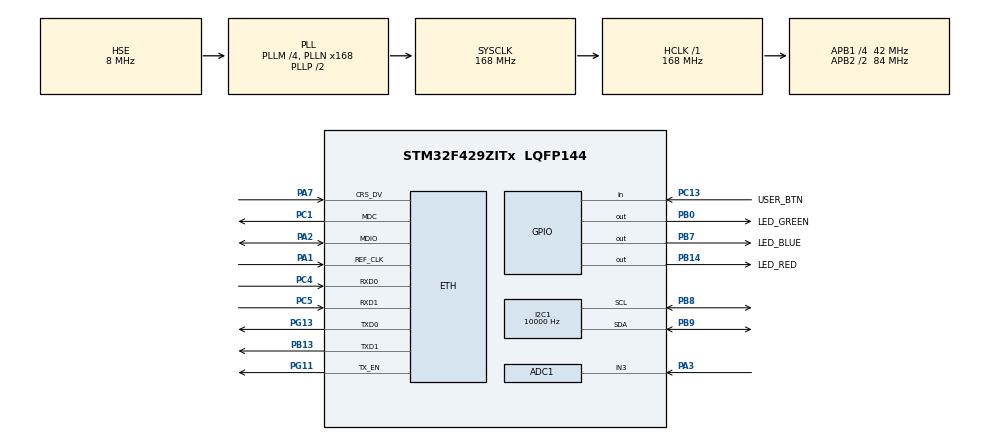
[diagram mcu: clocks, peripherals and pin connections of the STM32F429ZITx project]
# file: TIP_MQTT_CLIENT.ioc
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ADC1.Channel-4\#ChannelRegularConversion=ADC_CHANNEL_3
ADC1.NbrOfConversionFlag=1
ADC1.Rank-4\#ChannelRegularConversion=1
ADC1.SamplingTime-4\#ChannelRegularConversion=ADC_SAMPLETIME_3CYCLES
ADC1.master=1
ETH.MediaInterface=ETH_MEDIA_INTERFACE_RMII
ETH.PhyAddress=0
FREERTOS.Tasks01=defaultTask,0,512,StartDefaultTask,Default,NULL,Dynamic,NULL,NULL
FREERTOS.configCHECK_FOR_STACK_OVERFLOW=2
FREERTOS.configENABLE_FPU=1
FREERTOS.configMINIMAL_STACK_SIZE=512
FREERTOS.configTOTAL_HEAP_SIZE=32768
I2C1.ClockSpeed=10000
LWIP.LWIP_NETIF_LINK_CALLBACK=1
LWIP.LWIP_SO_RCVBUF=1
LWIP.Version=v2.1.2_Cube
Mcu.Family=STM32F4
Mcu.Name=STM32F429ZITx
Mcu.Package=LQFP144
NVIC.ETH_IRQn=true\:5\:0\:false\:false\:true\:true\:false\:true
NVIC.PriorityGroup=NVIC_PRIORITYGROUP_4
NVIC.TIM6_DAC_IRQn=true\:0\:0\:false\:false\:true\:false\:false\:true
NVIC.TimeBase=TIM6_DAC_IRQn
NVIC.TimeBaseIP=TIM6
PA1.Mode=RMII
PA1.Signal=ETH_REF_CLK
PA13.Mode=Trace_Asynchronous_SW
PA13.Signal=SYS_JTMS-SWDIO
PA14.Mode=Trace_Asynchronous_SW
PA14.Signal=SYS_JTCK-SWCLK
PA2.Mode=RMII
PA2.Signal=ETH_MDIO
PA3.Signal=ADCx_IN3
PA7.Mode=RMII
PA7.Signal=ETH_CRS_DV
PB0.GPIO_Label=LED_GREEN
PB0.Signal=GPIO_Output
PB13.Mode=RMII
PB13.Signal=ETH_TXD1
PB14.GPIO_Label=LED_RED
PB14.Signal=GPIO_Output
PB3.Mode=Trace_Asynchronous_SW
PB3.Signal=SYS_JTDO-SWO
PB7.GPIO_Label=LED_BLUE
PB7.Signal=GPIO_Output
PB8.Mode=I2C
PB8.Signal=I2C1_SCL
PB9.Mode=I2C
PB9.Signal=I2C1_SDA
PC1.Mode=RMII
PC1.Signal=ETH_MDC
PC13.GPIO_Label=USER_BTN
PC13.Signal=GPIO_Input
PC14/OSC32_IN.Mode=LSE-External-Oscillator
PC14/OSC32_IN.Signal=RCC_OSC32_IN
PC15/OSC32_OUT.Mode=LSE-External-Oscillator
PC15/OSC32_OUT.Signal=RCC_OSC32_OUT
PC4.Mode=RMII
PC4.Signal=ETH_RXD0
PC5.Mode=RMII
PC5.Signal=ETH_RXD1
PG11.Mode=RMII
PG11.Signal=ETH_TX_EN
PG13.Mode=RMII
PG13.Signal=ETH_TXD0
PH0/OSC_IN.Mode=HSE-External-Clock-Source
PH0/OSC_IN.Signal=RCC_OSC_IN
PH1/OSC_OUT.Mode=HSE-External-Clock-Source
PH1/OSC_OUT.Signal=RCC_OSC_OUT
ProjectManager.HeapSize=0x200
ProjectManager.StackSize=0x400
ProjectManager.TargetToolchain=STM32CubeIDE
RCC.48MHZClocksFreq_Value=48000000
RCC.AHBFreq_Value=168000000
RCC.APB1CLKDivider=RCC_HCLK_DIV4
RCC.APB1Freq_Value=42000000
RCC.APB1TimFreq_Value=84000000
RCC.APB2CLKDivider=RCC_HCLK_DIV2
RCC.APB2Freq_Value=84000000
RCC.APB2TimCLKDivider=2
RCC.APB2TimFreq_Value=168000000
RCC.CortexFreq_Value=168000000
RCC.HCLKFreq_Value=168000000
RCC.HSE_VALUE=8000000
RCC.HSI_VALUE=16000000
RCC.PLLM=4
RCC.PLLMUL=RCC_PLL_MUL9
RCC.PLLN=168
RCC.PLLQ=7
RCC.PLLSourceVirtual=RCC_PLLSOURCE_HSE
RCC.PRESCALERUSB=RCC_USBCLKSOURCE_PLL_DIV1_5
RCC.SYSCLKFreq_VALUE=168000000
RCC.SYSCLKSource=RCC_SYSCLKSOURCE_PLLCLK
RCC.SYSCLKSourceVirtual=RCC_SYSCLKSOURCE_PLLCLK
RCC.USBFreq_Value=48000000
RCC.VCOOutputFreq_Value=336000000
SH.ADCx_IN3.0=ADC1_IN3,IN3
VP_FREERTOS_VS_CMSIS_V1.Mode=CMSIS_V1
VP_LWIP_VS_Enabled.Mode=Enabled
VP_SYS_VS_tim6.Mode=TIM6
board=NUCLEO-F429ZI

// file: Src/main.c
/* USER CODE BEGIN Header */
/**
  ******************************************************************************
  * @file           : main.c
  * @brief          : Main program body
  ******************************************************************************
  * @attention
  *
  * <h2><center>&copy; Copyright (c) 2020 STMicroelectronics.
  * All rights reserved.</center></h2>
  *
  * This software component is licensed by ST under Ultimate Liberty license
  * SLA0044, the "License"; You may not use this file except in compliance with
  * the License. You may obtain a copy of the License at:
  *                             www.st.com/SLA0044
  *
  ******************************************************************************
  */
/* USER CODE END Header */

#include "main.h"
#include "cmsis_os.h"
#include "adc.h"
#include "i2c.h"
#include "lwip.h"
#include "gpio.h"

/* USER CODE BEGIN PV */
extern uint32_t MilliTimer;
/* USER CODE END PV */

void SystemClock_Config(void);
void MX_FREERTOS_Init(void);

/* USER CODE BEGIN 0 */
int _write(int file, char *ptr, int len)
{
  int DataIdx;

  for (DataIdx = 0; DataIdx < len; DataIdx++)
  {
    ITM_SendChar(*ptr++);
  }
  return len;
}

/* USER CODE END 0 */

int main(void)
{

  /* MCU Configuration--------------------------------------------------------*/

  /* Reset of all peripherals, Initializes the Flash interface and the Systick. */
  HAL_Init();

  /* Configure the system clock */
  SystemClock_Config();

  /* Initialize all configured peripherals */
  MX_GPIO_Init();
  MX_I2C1_Init();
  MX_ADC1_Init();
  /* USER CODE BEGIN 2 */
  printf("Start application.\r\n");

  /* USER CODE END 2 */

  /* Call init function for freertos objects (in freertos.c) */
  MX_FREERTOS_Init();
  /* Start scheduler */
  osKernelStart();

  /* We should never get here as control is now taken by the scheduler */
  /* Infinite loop */
  while (1)
  {

  }
}

void SystemClock_Config(void)
{
  RCC_OscInitTypeDef RCC_OscInitStruct = {0};
  RCC_ClkInitTypeDef RCC_ClkInitStruct = {0};

  /** Configure the main internal regulator output voltage
  */
  __HAL_RCC_PWR_CLK_ENABLE();
  __HAL_PWR_VOLTAGESCALING_CONFIG(PWR_REGULATOR_VOLTAGE_SCALE1);
  /** Initializes the CPU, AHB and APB busses clocks
  */
  RCC_OscInitStruct.OscillatorType = RCC_OSCILLATORTYPE_HSE;
  RCC_OscInitStruct.HSEState = RCC_HSE_BYPASS;
  RCC_OscInitStruct.PLL.PLLState = RCC_PLL_ON;
  RCC_OscInitStruct.PLL.PLLSource = RCC_PLLSOURCE_HSE;
  RCC_OscInitStruct.PLL.PLLM = 4;
  RCC_OscInitStruct.PLL.PLLN = 168;
  RCC_OscInitStruct.PLL.PLLP = RCC_PLLP_DIV2;
  RCC_OscInitStruct.PLL.PLLQ = 7;
  if (HAL_RCC_OscConfig(&RCC_OscInitStruct) != HAL_OK)
  {
    Error_Handler();
  }
  /** Initializes the CPU, AHB and APB busses clocks
  */
  RCC_ClkInitStruct.ClockType = RCC_CLOCKTYPE_HCLK|RCC_CLOCKTYPE_SYSCLK
                              |RCC_CLOCKTYPE_PCLK1|RCC_CLOCKTYPE_PCLK2;
  RCC_ClkInitStruct.SYSCLKSource = RCC_SYSCLKSOURCE_PLLCLK;
  RCC_ClkInitStruct.AHBCLKDivider = RCC_SYSCLK_DIV1;
  RCC_ClkInitStruct.APB1CLKDivider = RCC_HCLK_DIV4;
  RCC_ClkInitStruct.APB2CLKDivider = RCC_HCLK_DIV2;

  if (HAL_RCC_ClockConfig(&RCC_ClkInitStruct, FLASH_LATENCY_5) != HAL_OK)
  {
    Error_Handler();
  }
}

 /**
  * @brief  Period elapsed callback in non blocking mode
  * @note   This function is called  when TIM6 interrupt took place, inside
  * HAL_TIM_IRQHandler(). It makes a direct call to HAL_IncTick() to increment
  * a global variable "uwTick" used as application time base.
  * @param  htim : TIM handle
  * @retval None
  */
void HAL_TIM_PeriodElapsedCallback(TIM_HandleTypeDef *htim)
{
  if (htim->Instance == TIM6) {
    HAL_IncTick();
  }
  /* USER CODE BEGIN Callback 1 */
  if (htim->Instance == TIM6) {
    MilliTimer++;
  }

  /* USER CODE END Callback 1 */
}

void Error_Handler(void)
{
}

/************************ (C) COPYRIGHT STMicroelectronics *****END OF FILE****/

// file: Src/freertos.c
/* USER CODE BEGIN Header */
/**
 ******************************************************************************
 * File Name          : freertos.c
 * Description        : Code for freertos applications
 ******************************************************************************
 * @attention
 *
 * <h2><center>&copy; Copyright (c) 2020 STMicroelectronics.
 * All rights reserved.</center></h2>
 *
 * This software component is licensed by ST under Ultimate Liberty license
 * SLA0044, the "License"; You may not use this file except in compliance with
 * the License. You may obtain a copy of the License at:
 *                             www.st.com/SLA0044
 *
 ******************************************************************************
 */
/* USER CODE END Header */

#include "FreeRTOS.h"
#include "task.h"
#include "main.h"
#include "cmsis_os.h"

/* USER CODE BEGIN Includes */
#include <string.h>
#include <stdlib.h>
#include "lwip.h"
#include "lwip/api.h"
#include "MQTTClient.h"
#include "MQTTInterface.h"
#include "tc74_sensor.h"
#include "hih_5031_sensor.h"

/* USER CODE END Includes */

/* USER CODE BEGIN PTD */
static char str_T[5];
static char str_H[5];
/* USER CODE END PTD */

/* USER CODE BEGIN PD */
#define BROKER_IP		"91.121.93.94" //ip mosqiutto broker
#define MQTT_PORT		1883
#define MQTT_BUFSIZE	1024
#define MQTT_TOPIC_HUM "AGGO/SS01/Humidity01"
#define MQTT_TOPIC_TEMP "AGGO/SS01/Temperature01"
char message[64];
uint8_t temperature, humidity;
/* USER CODE END PD */

/* USER CODE BEGIN Variables */
extern struct netif gnetif; //extern gnetif

osThreadId mqttClientSubTaskHandle;  //mqtt client task handle
osThreadId mqttClientPubTaskHandle;  //mqtt client task handle

Network net; //mqtt network
MQTTClient mqttClient; //mqtt client

uint8_t sndBuffer[MQTT_BUFSIZE]; //mqtt send buffer
uint8_t rcvBuffer[MQTT_BUFSIZE]; //mqtt receive buffer
uint8_t msgBuffer[MQTT_BUFSIZE]; //mqtt message buffer
extern ADC_HandleTypeDef hadc1;
extern I2C_HandleTypeDef hi2c1;
/* USER CODE END Variables */
osThreadId defaultTaskHandle;

/* USER CODE BEGIN FunctionPrototypes */
void MqttClientSubTask(void const *argument); //mqtt client subscribe task function
void MqttClientPubTask(void const *argument); //mqtt client publish task function
int  MqttConnectBroker(void); 				//mqtt broker connect function
void MqttMessageArrived(MessageData* msg); //mqtt message callback function
/* USER CODE END FunctionPrototypes */

void StartDefaultTask(void const * argument);

extern void MX_LWIP_Init(void);
void MX_FREERTOS_Init(void); /* (MISRA C 2004 rule 8.1) */

/* GetIdleTaskMemory prototype (linked to static allocation support) */
void vApplicationGetIdleTaskMemory( StaticTask_t **ppxIdleTaskTCBBuffer, StackType_t **ppxIdleTaskStackBuffer, uint32_t *pulIdleTaskStackSize );

/* Hook prototypes */
void vApplicationStackOverflowHook(xTaskHandle xTask, signed char *pcTaskName);

/* USER CODE BEGIN 4 */
void vApplicationStackOverflowHook(xTaskHandle xTask, signed char *pcTaskName)
{
	/* Run time stack overflow checking is performed if
   configCHECK_FOR_STACK_OVERFLOW is defined to 1 or 2. This hook function is
   called if a stack overflow is detected. */
	HAL_GPIO_WritePin(LED_RED_GPIO_Port, LED_RED_Pin, GPIO_PIN_SET); //turn on red led when detects stack overflow

}
/* USER CODE END 4 */

/* USER CODE BEGIN GET_IDLE_TASK_MEMORY */
static StaticTask_t xIdleTaskTCBBuffer;
static StackType_t xIdleStack[configMINIMAL_STACK_SIZE];

void vApplicationGetIdleTaskMemory( StaticTask_t **ppxIdleTaskTCBBuffer, StackType_t **ppxIdleTaskStackBuffer, uint32_t *pulIdleTaskStackSize )
{
	*ppxIdleTaskTCBBuffer = &xIdleTaskTCBBuffer;
	*ppxIdleTaskStackBuffer = &xIdleStack[0];
	*pulIdleTaskStackSize = configMINIMAL_STACK_SIZE;
	/* place for user code */
}
/* USER CODE END GET_IDLE_TASK_MEMORY */

void MX_FREERTOS_Init(void) {

  /* Create the thread(s) */
  /* definition and creation of defaultTask */
  osThreadDef(defaultTask, StartDefaultTask, osPriorityNormal, 0, 512);
  defaultTaskHandle = osThreadCreate(osThread(defaultTask), NULL);

}

void StartDefaultTask(void const * argument)
{
  /* init code for LWIP */
  MX_LWIP_Init();
  /* USER CODE BEGIN StartDefaultTask */
	osThreadDef(mqttClientSubTask, MqttClientSubTask, osPriorityNormal, 0, configMINIMAL_STACK_SIZE); //subscribe task
	osThreadDef(mqttClientPubTask, MqttClientPubTask, osPriorityNormal, 0, configMINIMAL_STACK_SIZE); //publish task
	mqttClientSubTaskHandle = osThreadCreate(osThread(mqttClientSubTask), NULL);
	mqttClientPubTaskHandle = osThreadCreate(osThread(mqttClientPubTask), NULL);

	/* Infinite loop */
	for(;;)
	{
		HAL_GPIO_TogglePin(LED_GREEN_GPIO_Port, LED_GREEN_Pin); //toggle running led
		osDelay(500);
	}
  /* USER CODE END StartDefaultTask */
}

/* USER CODE BEGIN Application */
/* reverse:  reverse string s in place */

void MqttClientSubTask(void const *argument)
{
	while(1)
	{
		//waiting for valid ip address
		if (gnetif.ip_addr.addr == 0 || gnetif.netmask.addr == 0 || gnetif.gw.addr == 0) //system has no valid ip address
		{
			osDelay(1000);
			continue;
		}
		else
		{
			printf("DHCP/Static IP O.K.\n");
			break;
		}
	}

	while(1)
	{
		if(!mqttClient.isconnected)
		{
			//try to connect to the broker
			MQTTDisconnect(&mqttClient);
			MqttConnectBroker();
			osDelay(1000);
		}
		else
		{
			MQTTYield(&mqttClient, 1000); //handle timer
			osDelay(100);
		}
	}
}

void MqttClientPubTask(void const *argument)
{

	MQTTMessage message_temp;
	MQTTMessage message_hum;

	while(1)
	{
		 /* Get temperature from sensor */
		if (true == tc74_sensor_readTemperature(&hi2c1, &temperature))
		{
			 itoa(temperature,str_T,10);
		}

		/* Get humidity from sensor */
		if (true == hih_5031_sensor_readHumidity(&hadc1, &humidity))
		{
			itoa((int)humidity,str_H,10);
		}

		if(mqttClient.isconnected)
		{
			message_temp.payload =  (void*)str_T;
			message_temp.payloadlen = strlen(str_T);

			MQTTPublish(&mqttClient, MQTT_TOPIC_TEMP, &message_temp); //publish a temperature message

			message_hum.payload = (void*)str_H;
			message_hum.payloadlen = strlen(str_H);
			MQTTPublish(&mqttClient, MQTT_TOPIC_HUM, &message_hum); //publish a message
		}

		osDelay(1000);
	}
}

int MqttConnectBroker()
{
	int ret;

	NewNetwork(&net);
	ret = ConnectNetwork(&net, BROKER_IP, MQTT_PORT);
	if(ret != MQTT_SUCCESS)
	{
		printf("ConnectNetwork failed.\n");
		return -1;
	}

	MQTTClientInit(&mqttClient, &net, 1000, sndBuffer, sizeof(sndBuffer), rcvBuffer, sizeof(rcvBuffer));

	MQTTPacket_connectData data = MQTTPacket_connectData_initializer;
	data.willFlag = 0;
	data.MQTTVersion = 3;
	data.clientID.cstring = "STM32F4";
	data.username.cstring = "STM32F4";
	data.password.cstring = "";
	data.keepAliveInterval = 60;
	data.cleansession = 1;

	ret = MQTTConnect(&mqttClient, &data);
	if(ret != MQTT_SUCCESS)
	{
		printf("MQTTConnect failed.\n");
		return ret;
	}

	ret = MQTTSubscribe(&mqttClient, "test", QOS0, MqttMessageArrived);
	if(ret != MQTT_SUCCESS)
	{
		printf("MQTTSubscribe failed.\n");
		return ret;
	}

	printf("MQTT_ConnectBroker O.K.\n");
	return MQTT_SUCCESS;
}

void MqttMessageArrived(MessageData* msg)
{
	HAL_GPIO_TogglePin(LED_BLUE_GPIO_Port, LED_BLUE_Pin); //toggle pin when new message arrived

	MQTTMessage* message = msg->message;
	memset(msgBuffer, 0, sizeof(msgBuffer));
	memcpy(msgBuffer, message->payload,message->payloadlen);

	printf("MQTT MSG[%d]:%s\n", (int)message->payloadlen, msgBuffer);
}

/* USER CODE END Application */

/************************ (C) COPYRIGHT STMicroelectronics *****END OF FILE****/
